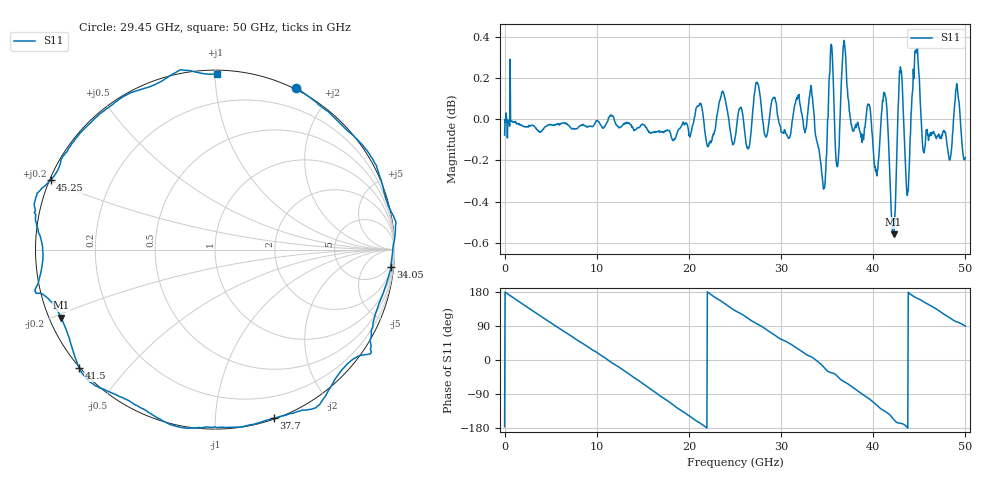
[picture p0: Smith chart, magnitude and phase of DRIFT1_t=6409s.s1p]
!Created with skrf (http://scikit-rf.org).
# Hz S RI R 50.0
!freq ReS11 ImS11
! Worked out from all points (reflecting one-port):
!   1001 points, 300 kHz to 50 GHz, reference 50 ohm
!   lowest |S11| = -0.6 dB at 42.2 GHz (marker M1), VSWR 31.06, Z = 1.68 - j10.5 ohm
!   phase of S11 starts at -176 deg and turns -815 deg over the sweep
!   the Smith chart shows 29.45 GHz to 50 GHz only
!   S11 on the Smith chart (normalised r, x): 29.45 GHz: -0.02, +1.62; 34.05 GHz: 3, -20; 37.7 GHz: 0.01, -1.41; 41.5 GHz: -0.00, -0.37; 45.25 GHz: 0.00, +0.20; 50 GHz: 0.02, +1.01
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300000  -0.9887 -0.0705
1.550291e9  -0.899 0.4312
3.30028e9  -0.5809 0.8086
6.250262e9  0.2007 0.9775
9.500243e9  0.89 0.4469
1.115023e10  0.9985 0.0208
1.250022e10  0.933 -0.3474
1.580021e10  0.2422 -0.9624
1.73502e10  -0.2086 -0.9711
1.875019e10  -0.5947 -0.7951
2.155017e10  -0.9923 -0.136
2.350016e10  -0.921 0.4214
2.500015e10  -0.6407 0.7544
2.735014e10  -0.1098 1.015
2.945012e10  0.4529 0.9024
3.125011e10  0.7813 0.6244
3.30501e10  0.9944 0.1874
3.40501e10  0.9796 -0.0943
3.520009e10  0.8697 -0.5351
3.750008e10  0.3849 -0.9241
3.770007e10  0.3297 -0.9389
3.955006e10  -0.2111 -0.986
4.150005e10  -0.7569 -0.6602
4.220005e10  -0.8579 -0.3784
4.375004e10  -0.9603 -0.00165
4.525003e10  -0.9161 0.3875
4.770001e10  -0.5039 0.8563
5e10  0.0117 0.9788
